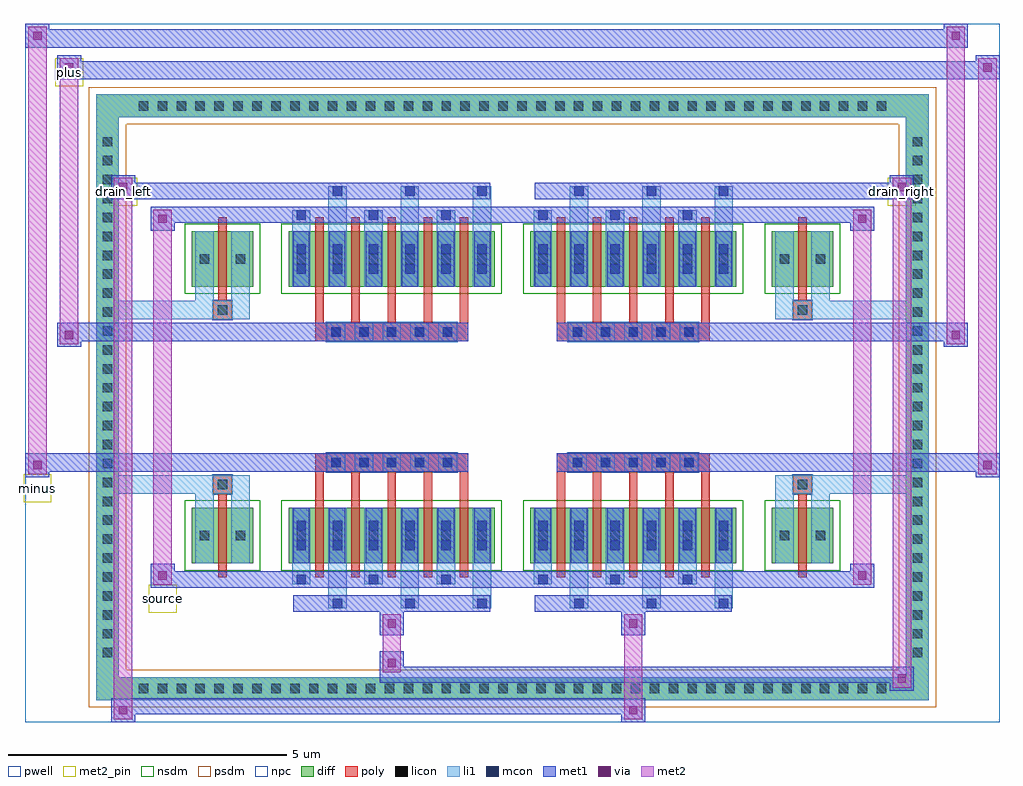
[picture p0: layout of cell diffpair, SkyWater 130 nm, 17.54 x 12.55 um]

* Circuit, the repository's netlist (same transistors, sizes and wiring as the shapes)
* NGSPICE file created from diffpair.ext - technology: sky130A

.subckt diffpair minus drain_right drain_left source plus
X0 source minus drain_right a_n1496_n1088# sky130_fd_pr__nfet_01v8 ad=0.25 pd=1.5 as=0.25 ps=1.5 w=1 l=0.15
X1 drain_right minus source a_n1496_n1088# sky130_fd_pr__nfet_01v8 ad=0.25 pd=1.5 as=0.25 ps=1.5 w=1 l=0.15
X2 source plus drain_left a_n1496_n1088# sky130_fd_pr__nfet_01v8 ad=0.25 pd=1.5 as=0.25 ps=1.5 w=1 l=0.15
X3 source minus drain_right a_n1496_n1088# sky130_fd_pr__nfet_01v8 ad=0.25 pd=1.5 as=0.25 ps=1.5 w=1 l=0.15
X4 a_n1496_n1088# a_n1496_n1088# a_n1496_n1088# a_n1496_n1088# sky130_fd_pr__nfet_01v8 ad=0.475 pd=2.95 as=3.8 ps=23.6 w=1 l=0.15
X5 a_n1496_n1088# a_n1496_n1088# a_n1496_n1088# a_n1496_n1088# sky130_fd_pr__nfet_01v8 ad=0.475 pd=2.95 as=0 ps=0 w=1 l=0.15
X6 drain_left plus source a_n1496_n1088# sky130_fd_pr__nfet_01v8 ad=0.25 pd=1.5 as=0.475 ps=2.95 w=1 l=0.15
X7 source minus drain_right a_n1496_n1088# sky130_fd_pr__nfet_01v8 ad=0.25 pd=1.5 as=0.25 ps=1.5 w=1 l=0.15
X8 drain_right minus source a_n1496_n1088# sky130_fd_pr__nfet_01v8 ad=0.25 pd=1.5 as=0.475 ps=2.95 w=1 l=0.15
X9 drain_right minus source a_n1496_n1088# sky130_fd_pr__nfet_01v8 ad=0.475 pd=2.95 as=0.25 ps=1.5 w=1 l=0.15
X10 drain_right minus source a_n1496_n1088# sky130_fd_pr__nfet_01v8 ad=0.25 pd=1.5 as=0.475 ps=2.95 w=1 l=0.15
X11 drain_left plus source a_n1496_n1088# sky130_fd_pr__nfet_01v8 ad=0.475 pd=2.95 as=0.25 ps=1.5 w=1 l=0.15
X12 a_n1496_n1088# a_n1496_n1088# a_n1496_n1088# a_n1496_n1088# sky130_fd_pr__nfet_01v8 ad=0.475 pd=2.95 as=0 ps=0 w=1 l=0.15
X13 source minus drain_right a_n1496_n1088# sky130_fd_pr__nfet_01v8 ad=0.25 pd=1.5 as=0.25 ps=1.5 w=1 l=0.15
X14 drain_right minus source a_n1496_n1088# sky130_fd_pr__nfet_01v8 ad=0.475 pd=2.95 as=0.25 ps=1.5 w=1 l=0.15
X15 drain_left plus source a_n1496_n1088# sky130_fd_pr__nfet_01v8 ad=0.475 pd=2.95 as=0.25 ps=1.5 w=1 l=0.15
X16 drain_right minus source a_n1496_n1088# sky130_fd_pr__nfet_01v8 ad=0.25 pd=1.5 as=0.25 ps=1.5 w=1 l=0.15
X17 source plus drain_left a_n1496_n1088# sky130_fd_pr__nfet_01v8 ad=0.25 pd=1.5 as=0.25 ps=1.5 w=1 l=0.15
X18 source plus drain_left a_n1496_n1088# sky130_fd_pr__nfet_01v8 ad=0.25 pd=1.5 as=0.25 ps=1.5 w=1 l=0.15
X19 drain_left plus source a_n1496_n1088# sky130_fd_pr__nfet_01v8 ad=0.25 pd=1.5 as=0.25 ps=1.5 w=1 l=0.15
X20 source plus drain_left a_n1496_n1088# sky130_fd_pr__nfet_01v8 ad=0.25 pd=1.5 as=0.25 ps=1.5 w=1 l=0.15
X21 drain_left plus source a_n1496_n1088# sky130_fd_pr__nfet_01v8 ad=0.25 pd=1.5 as=0.25 ps=1.5 w=1 l=0.15
X22 drain_left plus source a_n1496_n1088# sky130_fd_pr__nfet_01v8 ad=0.25 pd=1.5 as=0.475 ps=2.95 w=1 l=0.15
X23 a_n1496_n1088# a_n1496_n1088# a_n1496_n1088# a_n1496_n1088# sky130_fd_pr__nfet_01v8 ad=0.475 pd=2.95 as=0 ps=0 w=1 l=0.15
.ends

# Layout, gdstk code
import gdstk
lib = gdstk.Library(unit=1e-6, precision=5e-09)
def R(c, l, rs):  # rectangles x0, y0, x1, y1
    for r in rs: c.add(gdstk.rectangle(r[:2], r[2:], *l))
def A(c, l, x, y, w, h, nx, ny, dx, dy):  # array of equal rectangles
    R(c, l, [(x+i*dx, y+j*dy, x+i*dx+w, y+j*dy+h) for i in range(nx) for j in range(ny)])
def P(c, l, *ps):  # polygons
    for p in ps: c.add(gdstk.Polygon(p, *l))
pwell = (64, 44)
diff = (65, 20)
poly = (66, 20)
licon = (66, 44)
li1 = (67, 20)
mcon = (67, 44)
met1 = (68, 20)
via = (68, 44)
met2_pin = (69, 16)
met2 = (69, 20)
nsdm = (93, 44)
psdm = (94, 20)
npc = (95, 20)

diffpair = lib.new_cell('diffpair')
R(diffpair, pwell, [(-8.75,-5.84,8.75,6.71), (-6.07,-4.03,-0.01,-0.805), (0.01,-4.03,6.07,-0.805), (-6.07,0.805,-0.01,4.03), (0.01,0.805,6.07,4.03)])
A(diffpair, diff, -6.835, -5.44, 0.41, 0.41, 40, 2, 0.34, 10.47)
A(diffpair, diff, -7.48, -4.795, 0.41, 0.41, 1, 28, 0, 0.34)
A(diffpair, diff, 7.07, -4.795, 0.41, 0.41, 1, 28, 0, 0.34)
R(diffpair, diff, [(-6.835,-5.44,6.835,-5.03), (-7.48,-4.795,-7.07,4.795), (7.07,-4.795,7.48,4.795), (-5.76,-2.985,-4.66,-1.985), (-4.02,-2.985,-0.32,-1.985), (0.32,-2.985,4.02,-1.985), (4.66,-2.985,5.76,-1.985), (-5.76,1.985,-4.66,2.985), (-4.02,1.985,-0.32,2.985), (0.32,1.985,4.02,2.985), (4.66,1.985,5.76,2.985), (-6.835,5.03,6.835,5.44)])
P(diffpair, diff, [(7.48,5.44),(-7.48,5.44),(-7.48,-5.03),(-7.07,-5.03),(-7.07,5.03),(7.07,5.03),(7.07,-5.03),(-7.07,-5.03),(-7.48,-5.03),(-7.48,-5.44),(7.48,-5.44)])
A(diffpair, poly, -3.545, -3.235, 0.15, 1.5, 5, 2, 0.65, 4.97)
A(diffpair, poly, 0.795, -3.235, 0.15, 1.5, 5, 2, 0.65, 4.97)
A(diffpair, poly, -3.545, -1.735, 0.15, 0.4, 5, 2, 0.65, 3.07)
A(diffpair, poly, 0.795, -1.735, 0.15, 0.4, 5, 2, 0.65, 3.07)
A(diffpair, poly, -3.335, -1.335, 0.33, 0.33, 5, 2, 0.5, 2.34)
A(diffpair, poly, 1.005, -1.335, 0.33, 0.33, 5, 2, 0.5, 2.34)
R(diffpair, poly, [(-5.285,-3.235,-5.135,-1.735), (5.135,-3.235,5.285,-1.735), (-5.375,-1.735,-5.045,-1.405), (-5.375,-1.735,-5.045,-1.405), (5.045,-1.735,5.375,-1.405), (5.045,-1.735,5.375,-1.405), (-3.545,-1.335,-0.795,-1.005), (0.795,-1.335,3.545,-1.005), (-3.545,1.005,-0.795,1.335), (0.795,1.005,3.545,1.335), (-5.375,1.405,-5.045,1.735), (-5.375,1.405,-5.045,1.735), (5.045,1.405,5.375,1.735), (5.045,1.405,5.375,1.735), (-5.285,1.735,-5.135,3.235), (5.135,1.735,5.285,3.235)])
A(diffpair, licon, -6.715, -5.32, 0.17, 0.17, 40, 2, 0.34, 10.47)
A(diffpair, licon, -7.36, -4.675, 0.17, 0.17, 1, 28, 0, 0.34)
A(diffpair, licon, 7.19, -4.675, 0.17, 0.17, 1, 28, 0, 0.34)
A(diffpair, licon, -3.88, -2.57, 0.17, 0.17, 6, 2, 0.65, 4.97)
A(diffpair, licon, 0.46, -2.57, 0.17, 0.17, 6, 2, 0.65, 4.97)
A(diffpair, licon, -3.255, -1.255, 0.17, 0.17, 5, 2, 0.5, 2.34)
A(diffpair, licon, 1.085, -1.255, 0.17, 0.17, 5, 2, 0.5, 2.34)
R(diffpair, licon, [(-5.62,-2.57,-5.45,-2.4), (-4.97,-2.57,-4.8,-2.4), (4.8,-2.57,4.97,-2.4), (5.45,-2.57,5.62,-2.4), (-5.295,-1.655,-5.125,-1.485), (5.125,-1.655,5.295,-1.485), (-5.295,1.485,-5.125,1.655), (5.125,1.485,5.295,1.655), (-5.62,2.4,-5.45,2.57), (-4.97,2.4,-4.8,2.57), (4.8,2.4,4.97,2.57), (5.45,2.4,5.62,2.57)])
A(diffpair, li1, -6.795, -5.4, 0.33, 0.33, 40, 2, 0.34, 10.47)
A(diffpair, li1, -7.44, -4.755, 0.33, 0.33, 1, 28, 0, 0.34)
A(diffpair, li1, 7.11, -4.755, 0.33, 0.33, 1, 28, 0, 0.34)
A(diffpair, li1, -3.31, -3.79, 0.33, 0.805, 3, 2, 1.3, 6.775)
A(diffpair, li1, -3.23, -3.79, 0.17, 0.17, 3, 2, 1.3, 7.41)
A(diffpair, li1, 1.03, -3.79, 0.33, 0.805, 3, 2, 1.3, 6.775)
A(diffpair, li1, 1.11, -3.79, 0.17, 0.17, 3, 2, 1.3, 7.41)
A(diffpair, li1, -3.96, -3.36, 0.33, 0.375, 3, 2, 1.3, 6.345)
A(diffpair, li1, -3.88, -3.36, 0.17, 0.17, 3, 2, 1.3, 6.55)
A(diffpair, li1, 0.38, -3.36, 0.33, 0.375, 3, 2, 1.3, 6.345)
A(diffpair, li1, 0.46, -3.36, 0.17, 0.17, 3, 2, 1.3, 6.55)
A(diffpair, li1, -3.96, -2.985, 0.33, 1, 6, 2, 0.65, 4.97)
A(diffpair, li1, 0.38, -2.985, 0.33, 1, 6, 2, 0.65, 4.97)
A(diffpair, li1, -3.88, -2.75, 0.17, 0.17, 6, 2, 0.65, 0.36)
A(diffpair, li1, -3.88, -2.75, 0.17, 0.53, 6, 2, 0.65, 4.97)
A(diffpair, li1, 0.46, -2.75, 0.17, 0.17, 6, 2, 0.65, 0.36)
A(diffpair, li1, 0.46, -2.75, 0.17, 0.53, 6, 2, 0.65, 4.97)
A(diffpair, li1, -3.96, -2.65, 0.33, 0.33, 6, 2, 0.65, 4.97)
A(diffpair, li1, 0.38, -2.65, 0.33, 0.33, 6, 2, 0.65, 4.97)
A(diffpair, li1, -3.335, -1.335, 0.33, 0.33, 5, 2, 0.5, 2.34)
A(diffpair, li1, 1.005, -1.335, 0.33, 0.33, 5, 2, 0.5, 2.34)
A(diffpair, li1, -3.88, 2.22, 0.17, 0.17, 6, 2, 0.65, 0.36)
A(diffpair, li1, 0.46, 2.22, 0.17, 0.17, 6, 2, 0.65, 0.36)
R(diffpair, li1, [(-7.48,-5.44,-7.07,-5.03), (-7.48,-5.44,-7.07,-5.03), (-7.07,-5.44,7.07,-5.03), (7.07,-5.44,7.48,-5.03), (7.07,-5.44,7.48,-5.03), (-7.48,-5.03,-7.07,5.03), (7.07,-5.03,7.48,5.03), (-5.7,-2.985,-5.37,-1.985), (-5.05,-2.985,-4.72,-1.985), (4.72,-2.985,5.05,-1.985), (5.37,-2.985,5.7,-1.985), (-5.7,-2.65,-5.37,-2.32), (-5.05,-2.65,-4.72,-2.32), (4.72,-2.65,5.05,-2.32), (5.37,-2.65,5.7,-2.32), (-5.7,-1.985,-5.37,-1.405), (-5.05,-1.985,-4.72,-1.405), (4.72,-1.985,5.05,-1.405), (5.37,-1.985,5.7,-1.405), (-7.48,-1.735,-5.375,-1.405), (-5.7,-1.735,-5.375,-1.405), (-5.375,-1.735,-5.045,-1.405), (-5.045,-1.735,-4.72,-1.405), (4.72,-1.735,5.045,-1.405), (5.045,-1.735,5.375,-1.405), (5.045,-1.735,7.48,-1.405), (5.375,-1.735,5.7,-1.405), (-7.48,1.405,-5.375,1.735), (-5.7,1.405,-5.375,1.735), (-5.7,1.405,-5.37,1.985), (-5.375,1.405,-5.045,1.735), (-5.05,1.405,-4.72,1.985), (-5.045,1.405,-4.72,1.735), (4.72,1.405,5.045,1.735), (4.72,1.405,5.05,1.985), (5.045,1.405,5.375,1.735), (5.045,1.405,7.48,1.735), (5.37,1.405,5.7,1.985), (5.375,1.405,5.7,1.735), (-5.7,1.985,-5.37,2.985), (-5.05,1.985,-4.72,2.985), (4.72,1.985,5.05,2.985), (5.37,1.985,5.7,2.985), (-5.7,2.32,-5.37,2.65), (-5.05,2.32,-4.72,2.65), (4.72,2.32,5.05,2.65), (5.37,2.32,5.7,2.65), (-7.48,5.03,-7.07,5.44), (-7.48,5.03,-7.07,5.44), (-7.07,5.03,7.07,5.44), (7.07,5.03,7.48,5.44), (7.07,5.03,7.48,5.44)])
A(diffpair, mcon, -3.23, -3.79, 0.17, 0.17, 3, 2, 1.3, 7.41)
A(diffpair, mcon, 1.11, -3.79, 0.17, 0.17, 3, 2, 1.3, 7.41)
A(diffpair, mcon, -3.88, -3.36, 0.17, 0.17, 3, 2, 1.3, 6.55)
A(diffpair, mcon, 0.46, -3.36, 0.17, 0.17, 3, 2, 1.3, 6.55)
A(diffpair, mcon, -3.88, -2.75, 0.17, 0.17, 6, 2, 0.65, 0.36)
A(diffpair, mcon, 0.46, -2.75, 0.17, 0.17, 6, 2, 0.65, 0.36)
A(diffpair, mcon, -3.255, -1.255, 0.17, 0.17, 5, 2, 0.5, 2.34)
A(diffpair, mcon, 1.085, -1.255, 0.17, 0.17, 5, 2, 0.5, 2.34)
A(diffpair, mcon, -3.88, 2.22, 0.17, 0.17, 6, 2, 0.65, 0.36)
A(diffpair, mcon, 0.46, 2.22, 0.17, 0.17, 6, 2, 0.65, 0.36)
A(diffpair, met1, -3.29, -3.85, 0.29, 0.29, 3, 2, 1.3, 7.41)
A(diffpair, met1, 1.05, -3.85, 0.29, 0.29, 3, 2, 1.3, 7.41)
A(diffpair, met1, -3.94, -3.42, 0.29, 0.29, 3, 2, 1.3, 6.55)
A(diffpair, met1, 0.4, -3.42, 0.29, 0.29, 3, 2, 1.3, 6.55)
A(diffpair, met1, -3.94, -2.985, 0.29, 1, 6, 2, 0.65, 4.97)
A(diffpair, met1, 0.4, -2.985, 0.29, 1, 6, 2, 0.65, 4.97)
A(diffpair, met1, -3.94, -2.81, 0.29, 0.29, 6, 2, 0.65, 0.36)
A(diffpair, met1, 0.4, -2.81, 0.29, 0.29, 6, 2, 0.65, 0.36)
A(diffpair, met1, -3.315, -1.315, 0.29, 0.29, 5, 2, 0.5, 2.34)
A(diffpair, met1, 1.025, -1.315, 0.29, 0.29, 5, 2, 0.5, 2.34)
A(diffpair, met1, -3.94, 2.16, 0.29, 0.29, 6, 2, 0.65, 0.36)
A(diffpair, met1, 0.4, 2.16, 0.29, 0.29, 6, 2, 0.65, 0.36)
R(diffpair, met1, [(-7.21,-5.84,-6.78,-5.41), (1.955,-5.84,2.385,-5.41), (-7.21,-5.7,2.385,-5.41), (6.78,-5.27,7.21,-4.84), (-2.385,-5.13,7.21,-4.84), (-2.385,-4.99,-1.955,-4.56), (-2.385,-4.28,-1.955,-3.85), (1.955,-4.28,2.385,-3.85), (-3.94,-3.85,-0.4,-3.56), (0.4,-3.85,3.94,-3.56), (-6.5,-3.42,-6.07,-2.99), (-6.5,-3.42,-3.94,-3.13), (-3.94,-3.42,-0.4,-3.13), (-0.4,-3.42,0.4,-3.13), (0.4,-3.42,3.94,-3.13), (3.94,-3.42,6.5,-3.13), (6.07,-3.42,6.5,-2.99), (-8.75,-1.435,-8.32,-1.005), (8.32,-1.435,8.75,-1.005), (-8.75,-1.335,-0.795,-1.005), (-3.545,-1.335,-0.795,-1.005), (0.795,-1.335,3.545,-1.005), (0.795,-1.335,8.75,-1.005), (-8.18,0.905,-7.75,1.335), (7.75,0.905,8.18,1.335), (-8.18,1.005,-3.545,1.335), (-3.545,1.005,-0.795,1.335), (0.795,1.005,3.545,1.335), (3.545,1.005,8.18,1.335), (-6.5,2.99,-6.07,3.42), (6.07,2.99,6.5,3.42), (-6.5,3.13,-3.94,3.42), (-3.94,3.13,-0.4,3.42), (-0.4,3.13,0.4,3.42), (0.4,3.13,3.94,3.42), (3.94,3.13,6.5,3.42), (-7.21,3.56,-6.78,3.99), (-7.21,3.56,-3.94,3.85), (-3.94,3.56,-0.4,3.85), (0.4,3.56,3.94,3.85), (3.94,3.56,7.21,3.85), (6.78,3.56,7.21,3.99), (-8.18,5.71,-7.75,6.14), (-8.18,5.71,-6.07,6.04), (-6.07,5.71,6.07,6.04), (6.07,5.71,8.75,6.04), (8.32,5.71,8.75,6.14), (-8.75,6.28,-8.32,6.71), (-8.75,6.28,-6.07,6.61), (-6.07,6.28,6.07,6.61), (6.07,6.28,8.18,6.61), (7.75,6.28,8.18,6.71)])
R(diffpair, via, [(-7.07,-5.7,-6.92,-5.55), (2.095,-5.7,2.245,-5.55), (6.92,-5.13,7.07,-4.98), (-2.245,-4.85,-2.095,-4.7), (-2.245,-4.14,-2.095,-3.99), (2.095,-4.14,2.245,-3.99), (-6.36,-3.28,-6.21,-3.13), (6.21,-3.28,6.36,-3.13), (-8.61,-1.295,-8.46,-1.145), (8.46,-1.295,8.61,-1.145), (-8.04,1.045,-7.89,1.195), (7.89,1.045,8.04,1.195), (-6.36,3.13,-6.21,3.28), (6.21,3.13,6.36,3.28), (-7.07,3.7,-6.92,3.85), (6.92,3.7,7.07,3.85), (-8.04,5.85,-7.89,6), (8.46,5.85,8.61,6), (-8.61,6.42,-8.46,6.57), (7.89,6.42,8.04,6.57)])
R(diffpair, met2_pin, [(-6.535,-3.87,-6.035,-3.37), (-8.785,-1.885,-8.285,-1.385), (-7.245,3.44,-6.745,3.94), (6.745,3.44,7.245,3.94), (-8.215,5.59,-7.715,6.09)])
R(diffpair, met2, [(-7.16,-5.79,-6.83,-5.46), (-7.16,-5.79,-6.83,3.94), (2.005,-5.79,2.335,-5.46), (2.005,-5.46,2.335,-4.23), (6.83,-5.22,7.16,-4.89), (6.83,-5.22,7.16,3.94), (-2.335,-4.94,-2.005,-4.61), (-2.335,-4.61,-2.005,-4.23), (-2.335,-4.23,-2.005,-3.9), (2.005,-4.23,2.335,-3.9), (-6.45,-3.37,-6.12,-3.04), (-6.45,-3.37,-6.12,3.37), (6.12,-3.37,6.45,-3.04), (6.12,-3.37,6.45,3.37), (-8.7,-1.385,-8.37,-1.055), (-8.7,-1.385,-8.37,6.66), (8.37,-1.385,8.7,-1.055), (8.37,-1.385,8.7,6.09), (-8.13,0.955,-7.8,1.285), (-8.13,0.955,-7.8,6.09), (7.8,0.955,8.13,1.285), (7.8,0.955,8.13,6.66), (-6.45,3.04,-6.12,3.37), (6.12,3.04,6.45,3.37), (-7.16,3.61,-6.83,3.94), (6.83,3.61,7.16,3.94), (-8.13,5.76,-7.8,6.09), (8.37,5.76,8.7,6.09), (-8.7,6.33,-8.37,6.66), (7.8,6.33,8.13,6.66)])
P(diffpair, met2, [(8.7,-1.385),(8.7,-1.385),(8.7,-1.055),(8.7,-1.055)],
  [(8.7,5.76),(8.7,5.76),(8.7,6.09),(8.7,6.09)],
  [(-8.37,-1.385),(-8.37,-1.385),(-8.37,-1.055),(-8.37,-1.055)],
  [(-8.37,6.33),(-8.37,6.33),(-8.37,6.66),(-8.37,6.66)],
  [(8.13,0.955),(8.13,0.955),(8.13,1.285),(8.13,1.285)],
  [(8.13,6.33),(8.13,6.33),(8.13,6.66),(8.13,6.66)],
  [(-7.8,0.955),(-7.8,0.955),(-7.8,1.285),(-7.8,1.285)],
  [(-7.8,5.76),(-7.8,5.76),(-7.8,6.09),(-7.8,6.09)],
  [(-6.83,-5.79),(-6.83,-5.79),(-6.83,-5.46),(-6.83,-5.46)],
  [(-6.83,3.61),(-6.83,3.61),(-6.83,3.94),(-6.83,3.94)],
  [(7.16,-5.22),(7.16,-5.22),(7.16,-4.89),(7.16,-4.89)],
  [(7.16,3.61),(7.16,3.61),(7.16,3.94),(7.16,3.94)],
  [(-6.12,-3.37),(-6.12,-3.37),(-6.12,-3.04),(-6.12,-3.04)],
  [(-6.12,3.04),(-6.12,3.04),(-6.12,3.37),(-6.12,3.37)],
  [(6.45,-3.37),(6.45,-3.37),(6.45,-3.04),(6.45,-3.04)],
  [(6.45,3.04),(6.45,3.04),(6.45,3.37),(6.45,3.37)])
R(diffpair, nsdm, [(-5.89,-3.115,-4.53,-1.855), (-4.15,-3.115,-0.19,-1.855), (0.19,-3.115,4.15,-1.855), (4.53,-3.115,5.89,-1.855), (-5.89,1.855,-4.53,3.115), (-4.15,1.855,-0.19,3.115), (0.19,1.855,4.15,3.115), (4.53,1.855,5.89,3.115)])
P(diffpair, psdm, [(7.61,5.57),(-7.61,5.57),(-7.61,-4.9),(-6.94,-4.9),(-6.94,4.9),(6.94,4.9),(6.94,-4.9),(-6.94,-4.9),(-7.61,-4.9),(-7.61,-5.57),(7.61,-5.57)])
A(diffpair, npc, -3.355, -1.355, 0.37, 0.37, 5, 2, 0.5, 2.34)
A(diffpair, npc, 0.985, -1.355, 0.37, 0.37, 5, 2, 0.5, 2.34)
R(diffpair, npc, [(-5.395,-1.755,-5.025,-1.385), (5.025,-1.755,5.395,-1.385), (-3.355,-1.355,-2.485,-0.985), (-3.355,-1.355,-2.485,-0.985), (-2.855,-1.355,-1.985,-0.985), (-2.855,-1.355,-1.985,-0.985), (-2.355,-1.355,-1.485,-0.985), (-2.355,-1.355,-1.485,-0.985), (-1.855,-1.355,-0.985,-0.985), (-1.855,-1.355,-0.985,-0.985), (0.985,-1.355,1.855,-0.985), (0.985,-1.355,1.855,-0.985), (1.485,-1.355,2.355,-0.985), (1.485,-1.355,2.355,-0.985), (1.985,-1.355,2.855,-0.985), (1.985,-1.355,2.855,-0.985), (2.485,-1.355,3.355,-0.985), (2.485,-1.355,3.355,-0.985), (-3.355,0.985,-2.485,1.355), (-3.355,0.985,-2.485,1.355), (-2.855,0.985,-1.985,1.355), (-2.855,0.985,-1.985,1.355), (-2.355,0.985,-1.485,1.355), (-2.355,0.985,-1.485,1.355), (-1.855,0.985,-0.985,1.355), (-1.855,0.985,-0.985,1.355), (0.985,0.985,1.855,1.355), (0.985,0.985,1.855,1.355), (1.485,0.985,2.355,1.355), (1.485,0.985,2.355,1.355), (1.985,0.985,2.855,1.355), (1.985,0.985,2.855,1.355), (2.485,0.985,3.355,1.355), (2.485,0.985,3.355,1.355), (-5.395,1.385,-5.025,1.755), (5.025,1.385,5.395,1.755)])
diffpair.add(gdstk.Label('minus', (-8.535,-1.635), layer=69, texttype=5))
diffpair.add(gdstk.Label('drain_right', (6.995,3.69), layer=69, texttype=5))
diffpair.add(gdstk.Label('drain_left', (-6.995,3.69), layer=69, texttype=5))
diffpair.add(gdstk.Label('source', (-6.285,-3.62), layer=69, texttype=5))
diffpair.add(gdstk.Label('plus', (-7.965,5.84), layer=69, texttype=5))

lib.write_gds('diffpair.gds')
